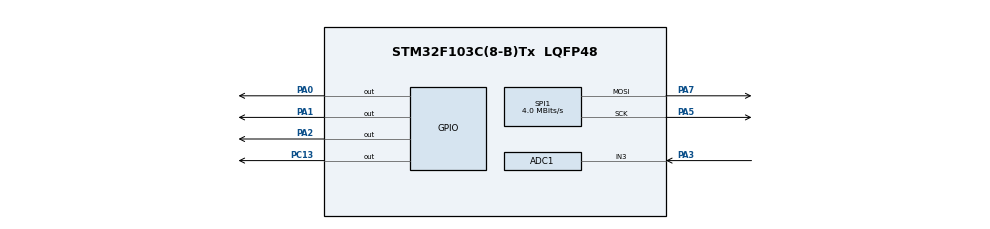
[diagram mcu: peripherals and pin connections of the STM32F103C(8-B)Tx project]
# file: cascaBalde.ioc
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ADC1.Channel-0\#ChannelRegularConversion=ADC_CHANNEL_3
ADC1.NbrOfConversionFlag=1
ADC1.Rank-0\#ChannelRegularConversion=1
ADC1.SamplingTime-0\#ChannelRegularConversion=ADC_SAMPLETIME_1CYCLE_5
ADC1.master=1
Mcu.Family=STM32F1
Mcu.Name=STM32F103C(8-B)Tx
Mcu.Package=LQFP48
NVIC.PriorityGroup=NVIC_PRIORITYGROUP_4
PA0-WKUP.Signal=GPIO_Output
PA1.Signal=GPIO_Output
PA13.Mode=Serial_Wire
PA13.Signal=SYS_JTMS-SWDIO
PA14.Mode=Serial_Wire
PA14.Signal=SYS_JTCK-SWCLK
PA2.Signal=GPIO_Output
PA3.Signal=ADCx_IN3
PA5.Mode=TX_Only_Simplex_Unidirect_Master
PA5.Signal=SPI1_SCK
PA7.Mode=TX_Only_Simplex_Unidirect_Master
PA7.Signal=SPI1_MOSI
PC13-TAMPER-RTC.Signal=GPIO_Output
PD0-OSC_IN.Mode=HSE-External-Oscillator
PD0-OSC_IN.Signal=RCC_OSC_IN
PD1-OSC_OUT.Mode=HSE-External-Oscillator
PD1-OSC_OUT.Signal=RCC_OSC_OUT
ProjectManager.HeapSize=0x200
ProjectManager.StackSize=0x400
ProjectManager.TargetToolchain=TrueSTUDIO
RCC.APB1Freq_Value=8000000
RCC.APB2Freq_Value=8000000
SH.ADCx_IN3.0=ADC1_IN3,IN3
SPI1.CLKPhase=SPI_PHASE_2EDGE
SPI1.CLKPolarity=SPI_POLARITY_HIGH
SPI1.CalculateBaudRate=4.0 MBits/s
SPI1.Direction=SPI_DIRECTION_2LINES
SPI1.Mode=SPI_MODE_MASTER
SPI1.VirtualType=VM_MASTER
board=cascaBalde

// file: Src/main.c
/**
  ******************************************************************************
  * File Name          : main.c
  * Description        : Main program body
  ******************************************************************************
  ** This notice applies to any and all portions of this file
  * that are not between comment pairs USER CODE BEGIN and
  * USER CODE END. Other portions of this file, whether
  * inserted by the user or by software development tools
  * are owned by their respective copyright owners.
  *
  * COPYRIGHT(c) 2017 STMicroelectronics
  *
  * Redistribution and use in source and binary forms, with or without modification,
  * are permitted provided that the following conditions are met:
  *   1. Redistributions of source code must retain the above copyright notice,
  *      this list of conditions and the following disclaimer.
  *   2. Redistributions in binary form must reproduce the above copyright notice,
  *      this list of conditions and the following disclaimer in the documentation
  *      and/or other materials provided with the distribution.
  *   3. Neither the name of STMicroelectronics nor the names of its contributors
  *      may be used to endorse or promote products derived from this software
  *      without specific prior written permission.
  *
  * THIS SOFTWARE IS PROVIDED BY THE COPYRIGHT HOLDERS AND CONTRIBUTORS "AS IS"
  * AND ANY EXPRESS OR IMPLIED WARRANTIES, INCLUDING, BUT NOT LIMITED TO, THE
  * IMPLIED WARRANTIES OF MERCHANTABILITY AND FITNESS FOR A PARTICULAR PURPOSE ARE
  * DISCLAIMED. IN NO EVENT SHALL THE COPYRIGHT HOLDER OR CONTRIBUTORS BE LIABLE
  * FOR ANY DIRECT, INDIRECT, INCIDENTAL, SPECIAL, EXEMPLARY, OR CONSEQUENTIAL
  * DAMAGES (INCLUDING, BUT NOT LIMITED TO, PROCUREMENT OF SUBSTITUTE GOODS OR
  * SERVICES; LOSS OF USE, DATA, OR PROFITS; OR BUSINESS INTERRUPTION) HOWEVER
  * CAUSED AND ON ANY THEORY OF LIABILITY, WHETHER IN CONTRACT, STRICT LIABILITY,
  * OR TORT (INCLUDING NEGLIGENCE OR OTHERWISE) ARISING IN ANY WAY OUT OF THE USE
  * OF THIS SOFTWARE, EVEN IF ADVISED OF THE POSSIBILITY OF SUCH DAMAGE.
  *
  ******************************************************************************
  */
#include "main.h"
#include "stm32f1xx_hal.h"
#include "adc.h"
#include "spi.h"
#include "gpio.h"

/* USER CODE BEGIN PV */
/* Private variables ---------------------------------------------------------*/

/* USER CODE END PV */

void SystemClock_Config(void);

/* USER CODE BEGIN PFP */
/* Private function prototypes -----------------------------------------------*/

/* USER CODE END PFP */

/* USER CODE BEGIN 0 */
extern const char tabelaad[4096][5]; // Usa uma tabela pra converter int em char
/* USER CODE END 0 */

int main(void)
{

  /* MCU Configuration----------------------------------------------------------*/

  /* Reset of all peripherals, Initializes the Flash interface and the Systick. */
  HAL_Init();

  /* Configure the system clock */
  SystemClock_Config();

  /* Initialize all configured peripherals */
  MX_GPIO_Init();
  MX_ADC1_Init();
  MX_SPI1_Init();

  /* Infinite loop */
  while (1)
  {

  /* USER CODE BEGIN 3 */
	  OledInit();

	  int volts = HAL_ADC_GetValue(&hadc1); //Pega o valor de entrada na porta

	  HAL_ADC_Start(&hadc1); //Esse start devia tА ali em cima
	  OledSetCursor(0,0);
	  OledPutString("Voltagem:");
	  OledSetCursor(0,1);
	  OledPutString(tabelaad[volts][0]);
	  OledSetCursor(5,1);
	  OledPutString("mV");
	  OledSetCursor(3,2);
	  OledPutString("CascaBalde");
	  OledSetCursor(3,3);
	  OledPutString("Equipamentos");
	  HAL_Delay(500);

  }
  /* USER CODE END 3 */

}

/** System Clock Configuration
*/
void SystemClock_Config(void)
{

  RCC_OscInitTypeDef RCC_OscInitStruct;
  RCC_ClkInitTypeDef RCC_ClkInitStruct;
  RCC_PeriphCLKInitTypeDef PeriphClkInit;

    /**Initializes the CPU, AHB and APB busses clocks
    */
  RCC_OscInitStruct.OscillatorType = RCC_OSCILLATORTYPE_HSI;
  RCC_OscInitStruct.HSIState = RCC_HSI_ON;
  RCC_OscInitStruct.HSICalibrationValue = 16;
  RCC_OscInitStruct.PLL.PLLState = RCC_PLL_NONE;
  if (HAL_RCC_OscConfig(&RCC_OscInitStruct) != HAL_OK)
  {
    _Error_Handler(__FILE__, __LINE__);
  }

    /**Initializes the CPU, AHB and APB busses clocks
    */
  RCC_ClkInitStruct.ClockType = RCC_CLOCKTYPE_HCLK|RCC_CLOCKTYPE_SYSCLK
                              |RCC_CLOCKTYPE_PCLK1|RCC_CLOCKTYPE_PCLK2;
  RCC_ClkInitStruct.SYSCLKSource = RCC_SYSCLKSOURCE_HSI;
  RCC_ClkInitStruct.AHBCLKDivider = RCC_SYSCLK_DIV1;
  RCC_ClkInitStruct.APB1CLKDivider = RCC_HCLK_DIV1;
  RCC_ClkInitStruct.APB2CLKDivider = RCC_HCLK_DIV1;

  if (HAL_RCC_ClockConfig(&RCC_ClkInitStruct, FLASH_LATENCY_0) != HAL_OK)
  {
    _Error_Handler(__FILE__, __LINE__);
  }

  PeriphClkInit.PeriphClockSelection = RCC_PERIPHCLK_ADC;
  PeriphClkInit.AdcClockSelection = RCC_ADCPCLK2_DIV2;
  if (HAL_RCCEx_PeriphCLKConfig(&PeriphClkInit) != HAL_OK)
  {
    _Error_Handler(__FILE__, __LINE__);
  }

    /**Configure the Systick interrupt time
    */
  HAL_SYSTICK_Config(HAL_RCC_GetHCLKFreq()/1000);

    /**Configure the Systick
    */
  HAL_SYSTICK_CLKSourceConfig(SYSTICK_CLKSOURCE_HCLK);

  /* SysTick_IRQn interrupt configuration */
  HAL_NVIC_SetPriority(SysTick_IRQn, 0, 0);
}

void _Error_Handler(char * file, int line)
{
  while(1)
  {
  }
}

/************************ (C) COPYRIGHT STMicroelectronics *****END OF FILE****/
